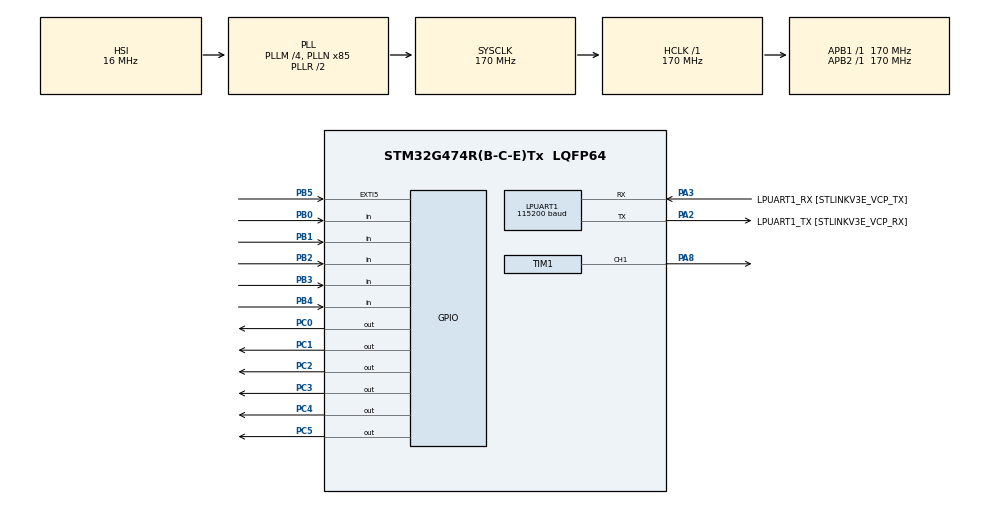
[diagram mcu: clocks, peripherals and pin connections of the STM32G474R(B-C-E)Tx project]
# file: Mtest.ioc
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LPUART1.BaudRate=115200
Mcu.Family=STM32G4
Mcu.Name=STM32G474R(B-C-E)Tx
Mcu.Package=LQFP64
NVIC.EXTI9_5_IRQn=true\:0\:0\:false\:false\:true\:true\:true\:true
NVIC.PriorityGroup=NVIC_PRIORITYGROUP_4
PA13.GPIO_Label=T_SWDIO
PA13.Signal=SYS_JTMS-SWDIO
PA14.GPIO_Label=T_SWCLK
PA14.Signal=SYS_JTCK-SWCLK
PA2.GPIO_Label=LPUART1_TX [STLINKV3E_VCP_RX]
PA2.Mode=Asynchronous
PA2.Signal=LPUART1_TX
PA3.GPIO_Label=LPUART1_RX [STLINKV3E_VCP_TX]
PA3.Mode=Asynchronous
PA3.Signal=LPUART1_RX
PA8.Signal=S_TIM1_CH1
PB0.GPIO_PuPd=GPIO_PULLUP
PB0.Signal=GPIO_Input
PB1.GPIO_PuPd=GPIO_PULLUP
PB1.Signal=GPIO_Input
PB2.GPIO_PuPd=GPIO_PULLUP
PB2.Signal=GPIO_Input
PB3.GPIO_PuPd=GPIO_PULLUP
PB3.Signal=GPIO_Input
PB4.GPIO_PuPd=GPIO_PULLUP
PB4.Signal=GPIO_Input
PB5.GPIO_ModeDefaultEXTI=GPIO_MODE_IT_FALLING
PB5.GPIO_PuPd=GPIO_PULLUP
PB5.Signal=GPXTI5
PC0.GPIO_PuPd=GPIO_NOPULL
PC0.Signal=GPIO_Output
PC1.GPIO_PuPd=GPIO_NOPULL
PC1.Signal=GPIO_Output
PC14-OSC32_IN.GPIO_Label=RCC_OSC32_IN
PC14-OSC32_IN.Signal=RCC_OSC32_IN
PC15-OSC32_OUT.GPIO_Label=RCC_OSC32_OUT
PC15-OSC32_OUT.Signal=RCC_OSC32_OUT
PC2.GPIO_PuPd=GPIO_NOPULL
PC2.Signal=GPIO_Output
PC3.GPIO_PuPd=GPIO_NOPULL
PC3.Signal=GPIO_Output
PC4.GPIO_PuPd=GPIO_NOPULL
PC4.Signal=GPIO_Output
PC5.GPIO_PuPd=GPIO_NOPULL
PC5.Signal=GPIO_Output
PF0-OSC_IN.GPIO_Label=RCC_OSC_IN
PF0-OSC_IN.Signal=RCC_OSC_IN
PF1-OSC_OUT.GPIO_Label=RCC_OSC_OUT
PF1-OSC_OUT.Signal=RCC_OSC_OUT
ProjectManager.HeapSize=0x200
ProjectManager.StackSize=0x400
ProjectManager.TargetToolchain=STM32CubeIDE
RCC.ADC12Freq_Value=170000000
RCC.ADC345Freq_Value=170000000
RCC.AHBFreq_Value=170000000
RCC.APB1Freq_Value=170000000
RCC.APB1TimFreq_Value=170000000
RCC.APB2Freq_Value=170000000
RCC.APB2TimFreq_Value=170000000
RCC.CortexFreq_Value=170000000
RCC.EXTERNAL_CLOCK_VALUE=12288000
RCC.HCLKFreq_Value=170000000
RCC.HSE_VALUE=24000000
RCC.HSI48_VALUE=48000000
RCC.HSI_VALUE=16000000
RCC.LSE_VALUE=32768
RCC.PLLM=RCC_PLLM_DIV4
RCC.PLLN=85
RCC.RTCClockSelection=RCC_RTCCLKSOURCE_LSE
RCC.SYSCLKFreq_VALUE=170000000
RCC.SYSCLKSource=RCC_SYSCLKSOURCE_PLLCLK
RCC.USBFreq_Value=170000000
RCC.VCOOutputFreq_Value=340000000
SH.S_TIM1_CH1.0=TIM1_CH1,PWM Generation1 CH1
TIM1.Channel-PWM\ Generation1\ CH1=TIM_CHANNEL_1
TIM1.PeriodNoDither=999
TIM1.Prescaler=169
VP_SYS_VS_DBSignals.Mode=DisableDeadBatterySignals
board=NUCLEO-G474RE

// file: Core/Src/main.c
/* USER CODE BEGIN Header */
/**
  ******************************************************************************
  * @file           : main.c
  * @brief          : Main program body
  ******************************************************************************
  * @attention
  *
  * Copyright (c) 2026 STMicroelectronics.
  * All rights reserved.
  *
  * This software is licensed under terms that can be found in the LICENSE file
  * in the root directory of this software component.
  * If no LICENSE file comes with this software, it is provided AS-IS.
  *
  ******************************************************************************
  */
/* USER CODE END Header */
#include "main.h"

/* USER CODE BEGIN Includes */
#include <string.h>
/* USER CODE END Includes */

UART_HandleTypeDef hlpuart1;

TIM_HandleTypeDef htim1;

/* USER CODE BEGIN PV */
// 狀態變數
uint8_t current_mode = 1;           // 目前股票策略模式 (預設 Mode 1)
uint8_t trade_state = 0;            // 交易狀態: 0=無動作, 1=買入(綠), 2=賣出(紅)
volatile uint8_t emergency_stop = 0;// 強制中斷旗標: 0=系統正常, 1=緊急中止 (volatile確保中斷即時更新)

// 呼吸燈控制變數
int16_t pwm_val = 0;                // 目前 PWM 占空比 (0 ~ 1000)
int8_t breath_step = 5;             // 每次呼吸亮度變化量
uint32_t last_breath_time = 0;      // 紀錄上次更新呼吸燈的時間 (Non-blocking 用)

// 按鈕軟體防彈跳時間紀錄
uint32_t last_btn_time = 0;
/* USER CODE END PV */

void SystemClock_Config(void);
static void MX_GPIO_Init(void);
static void MX_TIM1_Init(void);
static void MX_LPUART1_UART_Init(void);
/* USER CODE BEGIN PFP */
void Clear_Action_LEDs(void);
/* USER CODE END PFP */

/* USER CODE BEGIN 0 */
// 傳送字串到電腦終端機的輔助函式
void UART_SendLog(char *msg)
{
  // 注意：Nucleo-G474RE 預設為 &hlpuart1
  // 若編譯報錯說找不到 hlpuart1，請看一下檔案上方是宣告 huart2 還是 hlpuart1
  HAL_UART_Transmit(&hlpuart1, (uint8_t*)msg, strlen(msg), 100);
}
/* USER CODE END 0 */

int main(void)
{

  /* MCU Configuration--------------------------------------------------------*/

  /* Reset of all peripherals, Initializes the Flash interface and the Systick. */
  HAL_Init();

  /* Configure the system clock */
  SystemClock_Config();

  /* Initialize all configured peripherals */
  MX_GPIO_Init();
  MX_TIM1_Init();
  MX_LPUART1_UART_Init();
  /* USER CODE BEGIN 2 */
    HAL_TIM_PWM_Start(&htim1, TIM_CHANNEL_1);
    HAL_GPIO_WritePin(GPIOC, GPIO_PIN_0, GPIO_PIN_SET);

    // 開機時先印出一行歡迎訊息，確認電腦收得到！
    UART_SendLog("\r\n=== Stock Simulator System Ready (Mode 1) ===\r\n");
  /* USER CODE END 2 */

  /* Infinite loop */
  /* USER CODE BEGIN WHILE */
    while (1)
    {
      uint32_t now = HAL_GetTick();

      // =========================================================
      // 狀態 A：如果觸發了「強制中斷 (Emergency Stop)」
      // =========================================================
      if (emergency_stop == 1)
      {
        __HAL_TIM_SET_COMPARE(&htim1, TIM_CHANNEL_1, 0);
        HAL_GPIO_WritePin(GPIOC, GPIO_PIN_0 | GPIO_PIN_1 | GPIO_PIN_2 | GPIO_PIN_3 | GPIO_PIN_4, GPIO_PIN_RESET);
        HAL_GPIO_WritePin(GPIOC, GPIO_PIN_5, GPIO_PIN_SET);

        // 按住 PB0 超過 1 秒解除警報
        if (HAL_GPIO_ReadPin(GPIOB, GPIO_PIN_0) == GPIO_PIN_RESET && (now - last_btn_time > 1000))
        {
          emergency_stop = 0;
          current_mode = 1;
          trade_state = 0;
          HAL_GPIO_WritePin(GPIOC, GPIO_PIN_5, GPIO_PIN_RESET);
          HAL_GPIO_WritePin(GPIOC, GPIO_PIN_0, GPIO_PIN_SET);

          // <--- 加在這裡！(解除警報時印出)
          UART_SendLog("[SYSTEM] Emergency Cleared! Back to Mode 1.\r\n");

          last_btn_time = now;
        }
        continue;
      }

      // =========================================================
      // 狀態 B：1. 處理 PA8 常亮呼吸燈
      // =========================================================
      uint8_t speed_multiplier = current_mode;
      if (now - last_breath_time >= 10)
      {
        last_breath_time = now;
        pwm_val += (breath_step * speed_multiplier);
        if (pwm_val >= 1000) { pwm_val = 1000; breath_step = -5; }
        else if (pwm_val <= 50) { pwm_val = 50; breath_step = 5; }
        __HAL_TIM_SET_COMPARE(&htim1, TIM_CHANNEL_1, pwm_val);
      }

      // =========================================================
      // 狀態 B：2. 掃描麵包板按鈕 (含 200ms 防彈跳)
      // =========================================================
      if (now - last_btn_time > 200)
      {
        // --- [按鈕 PB0]：切換至 Mode 1 (綠燈 PC0) ---
        if (HAL_GPIO_ReadPin(GPIOB, GPIO_PIN_0) == GPIO_PIN_RESET)
        {
          current_mode = 1;
          HAL_GPIO_WritePin(GPIOC, GPIO_PIN_0, GPIO_PIN_SET);
          HAL_GPIO_WritePin(GPIOC, GPIO_PIN_1 | GPIO_PIN_2, GPIO_PIN_RESET);
          HAL_GPIO_WritePin(GPIOC, GPIO_PIN_3 | GPIO_PIN_4, GPIO_PIN_RESET);

          // <--- 加在這裡！
          UART_SendLog("[MODE] Switched to Mode 1 (Conservative | Green LED)\r\n");

          last_btn_time = now;
        }
        // --- [按鈕 PB1]：切換至 Mode 2 (黃燈 PC1) ---
        else if (HAL_GPIO_ReadPin(GPIOB, GPIO_PIN_1) == GPIO_PIN_RESET)
        {
          current_mode = 2;
          HAL_GPIO_WritePin(GPIOC, GPIO_PIN_1, GPIO_PIN_SET);
          HAL_GPIO_WritePin(GPIOC, GPIO_PIN_0 | GPIO_PIN_2, GPIO_PIN_RESET);
          HAL_GPIO_WritePin(GPIOC, GPIO_PIN_3 | GPIO_PIN_4, GPIO_PIN_RESET);

          // <--- 加在這裡！
          UART_SendLog("[MODE] Switched to Mode 2 (Balanced | Yellow LED)\r\n");

          last_btn_time = now;
        }
        // --- [按鈕 PB2]：切換至 Mode 3 (藍燈 PC2) ---
        else if (HAL_GPIO_ReadPin(GPIOB, GPIO_PIN_2) == GPIO_PIN_RESET)
        {
          current_mode = 3;
          HAL_GPIO_WritePin(GPIOC, GPIO_PIN_2, GPIO_PIN_SET);
          HAL_GPIO_WritePin(GPIOC, GPIO_PIN_0 | GPIO_PIN_1, GPIO_PIN_RESET);
          HAL_GPIO_WritePin(GPIOC, GPIO_PIN_3 | GPIO_PIN_4, GPIO_PIN_RESET);

          // <--- 加在這裡！
          UART_SendLog("[MODE] Switched to Mode 3 (Aggressive | Blue LED)\r\n");

          last_btn_time = now;
        }
        // --- [按鈕 PB3]：收到「買入」訊號 (點亮綠燈 PC3) ---
        else if (HAL_GPIO_ReadPin(GPIOB, GPIO_PIN_3) == GPIO_PIN_RESET)
        {
          trade_state = 1;
          HAL_GPIO_WritePin(GPIOC, GPIO_PIN_3, GPIO_PIN_SET);
          HAL_GPIO_WritePin(GPIOC, GPIO_PIN_4, GPIO_PIN_RESET);

          // <--- 你問的買入訊號就是加在這裡！
          UART_SendLog("[STOCK] >>> BUY Signal Triggered! (Green LED ON)\r\n");

          last_btn_time = now;
        }
        // --- [按鈕 PB4]：收到「賣出」訊號 (點亮紅燈 PC4) ---
        else if (HAL_GPIO_ReadPin(GPIOB, GPIO_PIN_4) == GPIO_PIN_RESET)
        {
          trade_state = 2;
          HAL_GPIO_WritePin(GPIOC, GPIO_PIN_4, GPIO_PIN_SET);
          HAL_GPIO_WritePin(GPIOC, GPIO_PIN_3, GPIO_PIN_RESET);

          // <--- 加在這裡！
          UART_SendLog("[STOCK] <<< SELL Signal Triggered! (Red LED ON)\r\n");

          last_btn_time = now;
        }
      }
    /* USER CODE END WHILE */

    }
}

void SystemClock_Config(void)
{
  RCC_OscInitTypeDef RCC_OscInitStruct = {0};
  RCC_ClkInitTypeDef RCC_ClkInitStruct = {0};

  /** Configure the main internal regulator output voltage
  */
  HAL_PWREx_ControlVoltageScaling(PWR_REGULATOR_VOLTAGE_SCALE1_BOOST);

  /** Initializes the RCC Oscillators according to the specified parameters
  * in the RCC_OscInitTypeDef structure.
  */
  RCC_OscInitStruct.OscillatorType = RCC_OSCILLATORTYPE_HSI;
  RCC_OscInitStruct.HSIState = RCC_HSI_ON;
  RCC_OscInitStruct.HSICalibrationValue = RCC_HSICALIBRATION_DEFAULT;
  RCC_OscInitStruct.PLL.PLLState = RCC_PLL_ON;
  RCC_OscInitStruct.PLL.PLLSource = RCC_PLLSOURCE_HSI;
  RCC_OscInitStruct.PLL.PLLM = RCC_PLLM_DIV4;
  RCC_OscInitStruct.PLL.PLLN = 85;
  RCC_OscInitStruct.PLL.PLLP = RCC_PLLP_DIV2;
  RCC_OscInitStruct.PLL.PLLQ = RCC_PLLQ_DIV2;
  RCC_OscInitStruct.PLL.PLLR = RCC_PLLR_DIV2;
  if (HAL_RCC_OscConfig(&RCC_OscInitStruct) != HAL_OK)
  {
    Error_Handler();
  }

  /** Initializes the CPU, AHB and APB buses clocks
  */
  RCC_ClkInitStruct.ClockType = RCC_CLOCKTYPE_HCLK|RCC_CLOCKTYPE_SYSCLK
                              |RCC_CLOCKTYPE_PCLK1|RCC_CLOCKTYPE_PCLK2;
  RCC_ClkInitStruct.SYSCLKSource = RCC_SYSCLKSOURCE_PLLCLK;
  RCC_ClkInitStruct.AHBCLKDivider = RCC_SYSCLK_DIV1;
  RCC_ClkInitStruct.APB1CLKDivider = RCC_HCLK_DIV1;
  RCC_ClkInitStruct.APB2CLKDivider = RCC_HCLK_DIV1;

  if (HAL_RCC_ClockConfig(&RCC_ClkInitStruct, FLASH_LATENCY_4) != HAL_OK)
  {
    Error_Handler();
  }
}

static void MX_LPUART1_UART_Init(void)
{

  hlpuart1.Instance = LPUART1;
  hlpuart1.Init.BaudRate = 115200;
  hlpuart1.Init.WordLength = UART_WORDLENGTH_8B;
  hlpuart1.Init.StopBits = UART_STOPBITS_1;
  hlpuart1.Init.Parity = UART_PARITY_NONE;
  hlpuart1.Init.Mode = UART_MODE_TX_RX;
  hlpuart1.Init.HwFlowCtl = UART_HWCONTROL_NONE;
  hlpuart1.Init.OneBitSampling = UART_ONE_BIT_SAMPLE_DISABLE;
  hlpuart1.Init.ClockPrescaler = UART_PRESCALER_DIV1;
  hlpuart1.AdvancedInit.AdvFeatureInit = UART_ADVFEATURE_NO_INIT;
  if (HAL_UART_Init(&hlpuart1) != HAL_OK)
  {
    Error_Handler();
  }
  if (HAL_UARTEx_SetTxFifoThreshold(&hlpuart1, UART_TXFIFO_THRESHOLD_1_8) != HAL_OK)
  {
    Error_Handler();
  }
  if (HAL_UARTEx_SetRxFifoThreshold(&hlpuart1, UART_RXFIFO_THRESHOLD_1_8) != HAL_OK)
  {
    Error_Handler();
  }
  if (HAL_UARTEx_DisableFifoMode(&hlpuart1) != HAL_OK)
  {
    Error_Handler();
  }

}

static void MX_TIM1_Init(void)
{

  TIM_MasterConfigTypeDef sMasterConfig = {0};
  TIM_OC_InitTypeDef sConfigOC = {0};
  TIM_BreakDeadTimeConfigTypeDef sBreakDeadTimeConfig = {0};

  htim1.Instance = TIM1;
  htim1.Init.Prescaler = 169;
  htim1.Init.CounterMode = TIM_COUNTERMODE_UP;
  htim1.Init.Period = 999;
  htim1.Init.ClockDivision = TIM_CLOCKDIVISION_DIV1;
  htim1.Init.RepetitionCounter = 0;
  htim1.Init.AutoReloadPreload = TIM_AUTORELOAD_PRELOAD_DISABLE;
  if (HAL_TIM_PWM_Init(&htim1) != HAL_OK)
  {
    Error_Handler();
  }
  sMasterConfig.MasterOutputTrigger = TIM_TRGO_RESET;
  sMasterConfig.MasterOutputTrigger2 = TIM_TRGO2_RESET;
  sMasterConfig.MasterSlaveMode = TIM_MASTERSLAVEMODE_DISABLE;
  if (HAL_TIMEx_MasterConfigSynchronization(&htim1, &sMasterConfig) != HAL_OK)
  {
    Error_Handler();
  }
  sConfigOC.OCMode = TIM_OCMODE_PWM1;
  sConfigOC.Pulse = 0;
  sConfigOC.OCPolarity = TIM_OCPOLARITY_HIGH;
  sConfigOC.OCNPolarity = TIM_OCNPOLARITY_HIGH;
  sConfigOC.OCFastMode = TIM_OCFAST_DISABLE;
  sConfigOC.OCIdleState = TIM_OCIDLESTATE_RESET;
  sConfigOC.OCNIdleState = TIM_OCNIDLESTATE_RESET;
  if (HAL_TIM_PWM_ConfigChannel(&htim1, &sConfigOC, TIM_CHANNEL_1) != HAL_OK)
  {
    Error_Handler();
  }
  sBreakDeadTimeConfig.OffStateRunMode = TIM_OSSR_DISABLE;
  sBreakDeadTimeConfig.OffStateIDLEMode = TIM_OSSI_DISABLE;
  sBreakDeadTimeConfig.LockLevel = TIM_LOCKLEVEL_OFF;
  sBreakDeadTimeConfig.DeadTime = 0;
  sBreakDeadTimeConfig.BreakState = TIM_BREAK_DISABLE;
  sBreakDeadTimeConfig.BreakPolarity = TIM_BREAKPOLARITY_HIGH;
  sBreakDeadTimeConfig.BreakFilter = 0;
  sBreakDeadTimeConfig.BreakAFMode = TIM_BREAK_AFMODE_INPUT;
  sBreakDeadTimeConfig.Break2State = TIM_BREAK2_DISABLE;
  sBreakDeadTimeConfig.Break2Polarity = TIM_BREAK2POLARITY_HIGH;
  sBreakDeadTimeConfig.Break2Filter = 0;
  sBreakDeadTimeConfig.Break2AFMode = TIM_BREAK_AFMODE_INPUT;
  sBreakDeadTimeConfig.AutomaticOutput = TIM_AUTOMATICOUTPUT_DISABLE;
  if (HAL_TIMEx_ConfigBreakDeadTime(&htim1, &sBreakDeadTimeConfig) != HAL_OK)
  {
    Error_Handler();
  }
  HAL_TIM_MspPostInit(&htim1);

}

static void MX_GPIO_Init(void)
{
  GPIO_InitTypeDef GPIO_InitStruct = {0};

  /* GPIO Ports Clock Enable */
  __HAL_RCC_GPIOC_CLK_ENABLE();
  __HAL_RCC_GPIOF_CLK_ENABLE();
  __HAL_RCC_GPIOA_CLK_ENABLE();
  __HAL_RCC_GPIOB_CLK_ENABLE();

  /*Configure GPIO pin Output Level */
  HAL_GPIO_WritePin(GPIOC, GPIO_PIN_0|GPIO_PIN_1|GPIO_PIN_2|GPIO_PIN_3
                          |GPIO_PIN_4|GPIO_PIN_5, GPIO_PIN_RESET);

  /*Configure GPIO pins : PC0 PC1 PC2 PC3
                           PC4 PC5 */
  GPIO_InitStruct.Pin = GPIO_PIN_0|GPIO_PIN_1|GPIO_PIN_2|GPIO_PIN_3
                          |GPIO_PIN_4|GPIO_PIN_5;
  GPIO_InitStruct.Mode = GPIO_MODE_OUTPUT_PP;
  GPIO_InitStruct.Pull = GPIO_NOPULL;
  GPIO_InitStruct.Speed = GPIO_SPEED_FREQ_LOW;
  HAL_GPIO_Init(GPIOC, &GPIO_InitStruct);

  /*Configure GPIO pins : PB0 PB1 PB2 PB3
                           PB4 */
  GPIO_InitStruct.Pin = GPIO_PIN_0|GPIO_PIN_1|GPIO_PIN_2|GPIO_PIN_3
                          |GPIO_PIN_4;
  GPIO_InitStruct.Mode = GPIO_MODE_INPUT;
  GPIO_InitStruct.Pull = GPIO_PULLUP;
  HAL_GPIO_Init(GPIOB, &GPIO_InitStruct);

  /*Configure GPIO pin : PB5 */
  GPIO_InitStruct.Pin = GPIO_PIN_5;
  GPIO_InitStruct.Mode = GPIO_MODE_IT_FALLING;
  GPIO_InitStruct.Pull = GPIO_PULLUP;
  HAL_GPIO_Init(GPIOB, &GPIO_InitStruct);

  /* EXTI interrupt init*/
  HAL_NVIC_SetPriority(EXTI9_5_IRQn, 0, 0);
  HAL_NVIC_EnableIRQ(EXTI9_5_IRQn);

}

/* USER CODE BEGIN 4 */
/**
  * @brief  GPIO 外部中斷觸發回呼函式
  * @param  GPIO_Pin: 觸發中斷的腳位
  */
void HAL_GPIO_EXTI_Callback(uint16_t GPIO_Pin)
{
  // 當按下 PB5 (強制中斷按鈕) 時立即觸發
  if (GPIO_Pin == GPIO_PIN_5)
  {
    emergency_stop = 1; // 立起緊急中止旗標

    // 瞬間切斷所有輸出並點亮警告燈 (不需等待主迴圈，展現硬體中斷的即時性)
    __HAL_TIM_SET_COMPARE(&htim1, TIM_CHANNEL_1, 0); // 熄滅 PA8 呼吸燈
    HAL_GPIO_WritePin(GPIOC, GPIO_PIN_0 | GPIO_PIN_1 | GPIO_PIN_2 | GPIO_PIN_3 | GPIO_PIN_4, GPIO_PIN_RESET);
    HAL_GPIO_WritePin(GPIOC, GPIO_PIN_5, GPIO_PIN_SET); // 點亮 PC5 緊急中止紅燈
    UART_SendLog("\r\n[ALERT] !!! EMERGENCY STOP TRIGGERED (Red LED ON) !!!\r\n");
    last_btn_time = HAL_GetTick(); // 更新時間戳記防止誤觸
  }
}
/* USER CODE END 4 */

void Error_Handler(void)
{
  __disable_irq();
  while (1)
  {
  }
}
